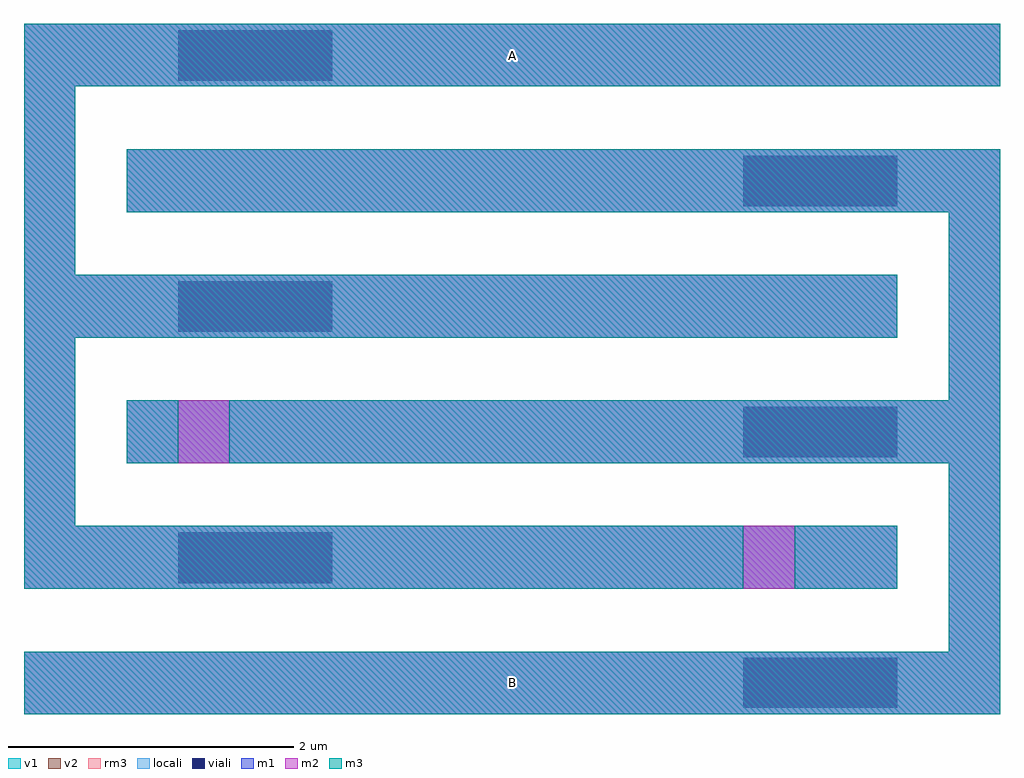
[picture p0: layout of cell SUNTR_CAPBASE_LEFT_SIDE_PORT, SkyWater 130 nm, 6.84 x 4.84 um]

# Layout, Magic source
magic
tech sky130A
magscale 1 2
<< m1 >>
rect 108 -44 1476 44
rect 1404 44 1476 132
rect 108 132 1332 220
rect 1404 132 1476 220
rect 108 220 180 308
rect 1404 220 1476 308
rect 108 308 180 396
rect 252 308 1476 396
rect 108 396 180 484
rect 1404 396 1476 484
rect 108 484 1332 572
rect 1404 484 1476 572
rect 108 572 180 660
rect 1404 572 1476 660
rect 108 660 180 748
rect 252 660 1476 748
rect 108 748 180 836
rect 108 836 1476 924
<< m2 >>
rect 108 -44 1476 44
rect 1404 44 1476 132
rect 108 132 1332 220
rect 1404 132 1476 220
rect 108 220 180 308
rect 1404 220 1476 308
rect 108 308 180 396
rect 252 308 1476 396
rect 108 396 180 484
rect 1404 396 1476 484
rect 108 484 1332 572
rect 1404 484 1476 572
rect 108 572 180 660
rect 1404 572 1476 660
rect 108 660 180 748
rect 252 660 1476 748
rect 108 748 180 836
rect 108 836 1476 924
<< locali >>
rect 108 -44 1476 44
rect 1404 44 1476 132
rect 108 132 1332 220
rect 1404 132 1476 220
rect 108 220 180 308
rect 1404 220 1476 308
rect 108 308 180 396
rect 252 308 1476 396
rect 108 396 180 484
rect 1404 396 1476 484
rect 108 484 1332 572
rect 1404 484 1476 572
rect 108 572 180 660
rect 1404 572 1476 660
rect 108 660 180 748
rect 252 660 1476 748
rect 108 748 180 836
rect 108 836 1476 924
<< v1 >>
rect 1116 -35 1188 -26
rect 1116 -26 1188 -17
rect 1116 -17 1188 -8
rect 1116 -8 1188 0
rect 1116 0 1188 8
rect 1116 8 1188 17
rect 1116 17 1188 26
rect 1116 26 1188 35
rect 1188 -35 1260 -26
rect 1188 -26 1260 -17
rect 1188 -17 1260 -8
rect 1188 -8 1260 0
rect 1188 0 1260 8
rect 1188 8 1260 17
rect 1188 17 1260 26
rect 1188 26 1260 35
rect 1260 -35 1332 -26
rect 1260 -26 1332 -17
rect 1260 -17 1332 -8
rect 1260 -8 1332 0
rect 1260 0 1332 8
rect 1260 8 1332 17
rect 1260 17 1332 26
rect 1260 26 1332 35
rect 324 140 396 149
rect 324 149 396 158
rect 324 158 396 167
rect 324 167 396 176
rect 324 176 396 184
rect 324 184 396 193
rect 324 193 396 202
rect 324 202 396 211
rect 396 140 468 149
rect 396 149 468 158
rect 396 158 468 167
rect 396 167 468 176
rect 396 176 468 184
rect 396 184 468 193
rect 396 193 468 202
rect 396 202 468 211
rect 468 140 540 149
rect 468 149 540 158
rect 468 158 540 167
rect 468 167 540 176
rect 468 176 540 184
rect 468 184 540 193
rect 468 193 540 202
rect 468 202 540 211
rect 1116 316 1188 325
rect 1116 325 1188 334
rect 1116 334 1188 343
rect 1116 343 1188 352
rect 1116 352 1188 360
rect 1116 360 1188 369
rect 1116 369 1188 378
rect 1116 378 1188 387
rect 1188 316 1260 325
rect 1188 325 1260 334
rect 1188 334 1260 343
rect 1188 343 1260 352
rect 1188 352 1260 360
rect 1188 360 1260 369
rect 1188 369 1260 378
rect 1188 378 1260 387
rect 1260 316 1332 325
rect 1260 325 1332 334
rect 1260 334 1332 343
rect 1260 343 1332 352
rect 1260 352 1332 360
rect 1260 360 1332 369
rect 1260 369 1332 378
rect 1260 378 1332 387
rect 324 492 396 501
rect 324 501 396 510
rect 324 510 396 519
rect 324 519 396 528
rect 324 528 396 536
rect 324 536 396 545
rect 324 545 396 554
rect 324 554 396 563
rect 396 492 468 501
rect 396 501 468 510
rect 396 510 468 519
rect 396 519 468 528
rect 396 528 468 536
rect 396 536 468 545
rect 396 545 468 554
rect 396 554 468 563
rect 468 492 540 501
rect 468 501 540 510
rect 468 510 540 519
rect 468 519 540 528
rect 468 528 540 536
rect 468 536 540 545
rect 468 545 540 554
rect 468 554 540 563
rect 1116 668 1188 677
rect 1116 677 1188 686
rect 1116 686 1188 695
rect 1116 695 1188 704
rect 1116 704 1188 712
rect 1116 712 1188 721
rect 1116 721 1188 730
rect 1116 730 1188 739
rect 1188 668 1260 677
rect 1188 677 1260 686
rect 1188 686 1260 695
rect 1188 695 1260 704
rect 1188 704 1260 712
rect 1188 712 1260 721
rect 1188 721 1260 730
rect 1188 730 1260 739
rect 1260 668 1332 677
rect 1260 677 1332 686
rect 1260 686 1332 695
rect 1260 695 1332 704
rect 1260 704 1332 712
rect 1260 712 1332 721
rect 1260 721 1332 730
rect 1260 730 1332 739
rect 324 844 396 853
rect 324 853 396 862
rect 324 862 396 871
rect 324 871 396 880
rect 324 880 396 888
rect 324 888 396 897
rect 324 897 396 906
rect 324 906 396 915
rect 396 844 468 853
rect 396 853 468 862
rect 396 862 468 871
rect 396 871 468 880
rect 396 880 468 888
rect 396 888 468 897
rect 396 897 468 906
rect 396 906 468 915
rect 468 844 540 853
rect 468 853 540 862
rect 468 862 540 871
rect 468 871 540 880
rect 468 880 540 888
rect 468 888 540 897
rect 468 897 540 906
rect 468 906 540 915
<< v2 >>
rect 1116 -35 1188 -26
rect 1116 -26 1188 -17
rect 1116 -17 1188 -8
rect 1116 -8 1188 0
rect 1116 0 1188 8
rect 1116 8 1188 17
rect 1116 17 1188 26
rect 1116 26 1188 35
rect 1188 -35 1260 -26
rect 1188 -26 1260 -17
rect 1188 -17 1260 -8
rect 1188 -8 1260 0
rect 1188 0 1260 8
rect 1188 8 1260 17
rect 1188 17 1260 26
rect 1188 26 1260 35
rect 1260 -35 1332 -26
rect 1260 -26 1332 -17
rect 1260 -17 1332 -8
rect 1260 -8 1332 0
rect 1260 0 1332 8
rect 1260 8 1332 17
rect 1260 17 1332 26
rect 1260 26 1332 35
rect 324 140 396 149
rect 324 149 396 158
rect 324 158 396 167
rect 324 167 396 176
rect 324 176 396 184
rect 324 184 396 193
rect 324 193 396 202
rect 324 202 396 211
rect 396 140 468 149
rect 396 149 468 158
rect 396 158 468 167
rect 396 167 468 176
rect 396 176 468 184
rect 396 184 468 193
rect 396 193 468 202
rect 396 202 468 211
rect 468 140 540 149
rect 468 149 540 158
rect 468 158 540 167
rect 468 167 540 176
rect 468 176 540 184
rect 468 184 540 193
rect 468 193 540 202
rect 468 202 540 211
rect 1116 316 1188 325
rect 1116 325 1188 334
rect 1116 334 1188 343
rect 1116 343 1188 352
rect 1116 352 1188 360
rect 1116 360 1188 369
rect 1116 369 1188 378
rect 1116 378 1188 387
rect 1188 316 1260 325
rect 1188 325 1260 334
rect 1188 334 1260 343
rect 1188 343 1260 352
rect 1188 352 1260 360
rect 1188 360 1260 369
rect 1188 369 1260 378
rect 1188 378 1260 387
rect 1260 316 1332 325
rect 1260 325 1332 334
rect 1260 334 1332 343
rect 1260 343 1332 352
rect 1260 352 1332 360
rect 1260 360 1332 369
rect 1260 369 1332 378
rect 1260 378 1332 387
rect 324 492 396 501
rect 324 501 396 510
rect 324 510 396 519
rect 324 519 396 528
rect 324 528 396 536
rect 324 536 396 545
rect 324 545 396 554
rect 324 554 396 563
rect 396 492 468 501
rect 396 501 468 510
rect 396 510 468 519
rect 396 519 468 528
rect 396 528 468 536
rect 396 536 468 545
rect 396 545 468 554
rect 396 554 468 563
rect 468 492 540 501
rect 468 501 540 510
rect 468 510 540 519
rect 468 519 540 528
rect 468 528 540 536
rect 468 536 540 545
rect 468 545 540 554
rect 468 554 540 563
rect 1116 668 1188 677
rect 1116 677 1188 686
rect 1116 686 1188 695
rect 1116 695 1188 704
rect 1116 704 1188 712
rect 1116 712 1188 721
rect 1116 721 1188 730
rect 1116 730 1188 739
rect 1188 668 1260 677
rect 1188 677 1260 686
rect 1188 686 1260 695
rect 1188 695 1260 704
rect 1188 704 1260 712
rect 1188 712 1260 721
rect 1188 721 1260 730
rect 1188 730 1260 739
rect 1260 668 1332 677
rect 1260 677 1332 686
rect 1260 686 1332 695
rect 1260 695 1332 704
rect 1260 704 1332 712
rect 1260 712 1332 721
rect 1260 721 1332 730
rect 1260 730 1332 739
rect 324 844 396 853
rect 324 853 396 862
rect 324 862 396 871
rect 324 871 396 880
rect 324 880 396 888
rect 324 888 396 897
rect 324 897 396 906
rect 324 906 396 915
rect 396 844 468 853
rect 396 853 468 862
rect 396 862 468 871
rect 396 871 468 880
rect 396 880 468 888
rect 396 888 468 897
rect 396 897 468 906
rect 396 906 468 915
rect 468 844 540 853
rect 468 853 540 862
rect 468 862 540 871
rect 468 871 540 880
rect 468 880 540 888
rect 468 888 540 897
rect 468 897 540 906
rect 468 906 540 915
<< viali >>
rect 1116 -35 1188 -26
rect 1116 -26 1188 -17
rect 1116 -17 1188 -8
rect 1116 -8 1188 0
rect 1116 0 1188 8
rect 1116 8 1188 17
rect 1116 17 1188 26
rect 1116 26 1188 35
rect 1188 -35 1260 -26
rect 1188 -26 1260 -17
rect 1188 -17 1260 -8
rect 1188 -8 1260 0
rect 1188 0 1260 8
rect 1188 8 1260 17
rect 1188 17 1260 26
rect 1188 26 1260 35
rect 1260 -35 1332 -26
rect 1260 -26 1332 -17
rect 1260 -17 1332 -8
rect 1260 -8 1332 0
rect 1260 0 1332 8
rect 1260 8 1332 17
rect 1260 17 1332 26
rect 1260 26 1332 35
rect 324 140 396 149
rect 324 149 396 158
rect 324 158 396 167
rect 324 167 396 176
rect 324 176 396 184
rect 324 184 396 193
rect 324 193 396 202
rect 324 202 396 211
rect 396 140 468 149
rect 396 149 468 158
rect 396 158 468 167
rect 396 167 468 176
rect 396 176 468 184
rect 396 184 468 193
rect 396 193 468 202
rect 396 202 468 211
rect 468 140 540 149
rect 468 149 540 158
rect 468 158 540 167
rect 468 167 540 176
rect 468 176 540 184
rect 468 184 540 193
rect 468 193 540 202
rect 468 202 540 211
rect 1116 316 1188 325
rect 1116 325 1188 334
rect 1116 334 1188 343
rect 1116 343 1188 352
rect 1116 352 1188 360
rect 1116 360 1188 369
rect 1116 369 1188 378
rect 1116 378 1188 387
rect 1188 316 1260 325
rect 1188 325 1260 334
rect 1188 334 1260 343
rect 1188 343 1260 352
rect 1188 352 1260 360
rect 1188 360 1260 369
rect 1188 369 1260 378
rect 1188 378 1260 387
rect 1260 316 1332 325
rect 1260 325 1332 334
rect 1260 334 1332 343
rect 1260 343 1332 352
rect 1260 352 1332 360
rect 1260 360 1332 369
rect 1260 369 1332 378
rect 1260 378 1332 387
rect 324 492 396 501
rect 324 501 396 510
rect 324 510 396 519
rect 324 519 396 528
rect 324 528 396 536
rect 324 536 396 545
rect 324 545 396 554
rect 324 554 396 563
rect 396 492 468 501
rect 396 501 468 510
rect 396 510 468 519
rect 396 519 468 528
rect 396 528 468 536
rect 396 536 468 545
rect 396 545 468 554
rect 396 554 468 563
rect 468 492 540 501
rect 468 501 540 510
rect 468 510 540 519
rect 468 519 540 528
rect 468 528 540 536
rect 468 536 540 545
rect 468 545 540 554
rect 468 554 540 563
rect 1116 668 1188 677
rect 1116 677 1188 686
rect 1116 686 1188 695
rect 1116 695 1188 704
rect 1116 704 1188 712
rect 1116 712 1188 721
rect 1116 721 1188 730
rect 1116 730 1188 739
rect 1188 668 1260 677
rect 1188 677 1260 686
rect 1188 686 1260 695
rect 1188 695 1260 704
rect 1188 704 1260 712
rect 1188 712 1260 721
rect 1188 721 1260 730
rect 1188 730 1260 739
rect 1260 668 1332 677
rect 1260 677 1332 686
rect 1260 686 1332 695
rect 1260 695 1332 704
rect 1260 704 1332 712
rect 1260 712 1332 721
rect 1260 721 1332 730
rect 1260 730 1332 739
rect 324 844 396 853
rect 324 853 396 862
rect 324 862 396 871
rect 324 871 396 880
rect 324 880 396 888
rect 324 888 396 897
rect 324 897 396 906
rect 324 906 396 915
rect 396 844 468 853
rect 396 853 468 862
rect 396 862 468 871
rect 396 871 468 880
rect 396 880 468 888
rect 396 888 468 897
rect 396 897 468 906
rect 396 906 468 915
rect 468 844 540 853
rect 468 853 540 862
rect 468 862 540 871
rect 468 871 540 880
rect 468 880 540 888
rect 468 888 540 897
rect 468 897 540 906
rect 468 906 540 915
<< m3 >>
rect 108 -44 1476 44
rect 108 -44 1476 44
rect 1404 44 1476 132
rect 108 132 1116 220
rect 1188 132 1332 220
rect 1404 132 1476 220
rect 108 220 180 308
rect 1404 220 1476 308
rect 108 308 180 396
rect 252 308 324 396
rect 396 308 1476 396
rect 108 396 180 484
rect 1404 396 1476 484
rect 108 484 1332 572
rect 1404 484 1476 572
rect 108 572 180 660
rect 1404 572 1476 660
rect 108 660 180 748
rect 252 660 1476 748
rect 108 748 180 836
rect 108 836 1476 924
rect 108 836 1476 924
<< rm3 >>
rect 1116 132 1188 220
rect 324 308 396 396
<< labels >>
flabel m3 s 108 -44 1476 44 0 FreeSans 400 0 0 0 B
port 2 nsew
flabel m3 s 108 836 1476 924 0 FreeSans 400 0 0 0 A
port 1 nsew
<< end >>
